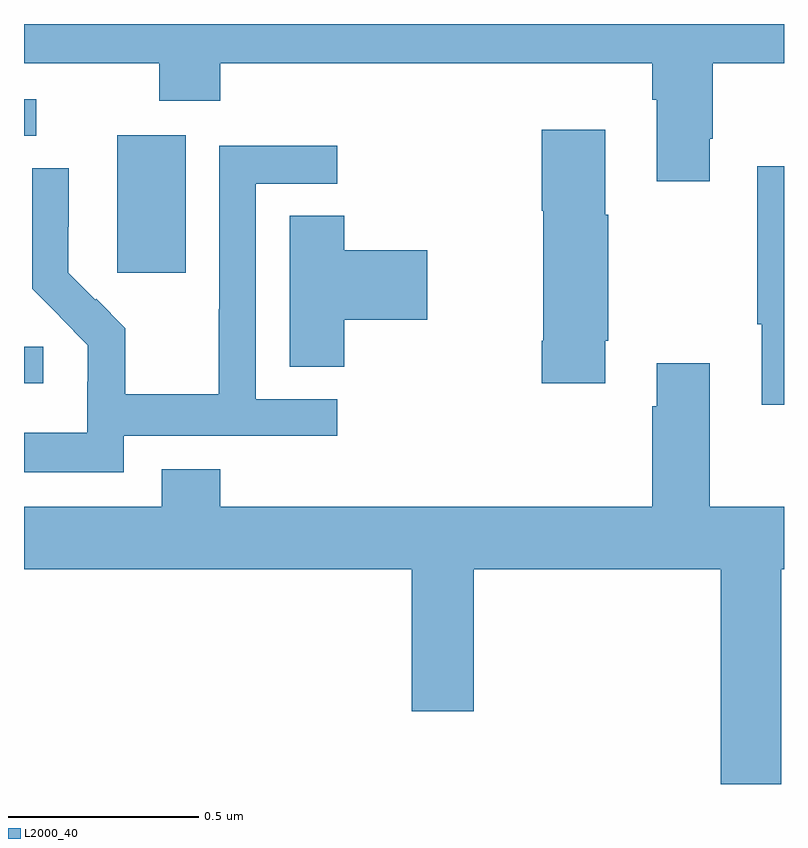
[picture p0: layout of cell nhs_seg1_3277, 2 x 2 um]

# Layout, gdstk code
import gdstk
lib = gdstk.Library(unit=1e-6, precision=1e-09)
def R(c, l, rs):  # rectangles x0, y0, x1, y1
    for r in rs: c.add(gdstk.rectangle(r[:2], r[2:], *l))
def P(c, l, *ps):  # polygons
    for p in ps: c.add(gdstk.Polygon(p, *l))
L2000_40 = (2000, 40)

nhs_seg1_3277 = lib.new_cell('nhs_seg1_3277')
R(nhs_seg1_3277, L2000_40, [(152,520.253,152.05,520.35), (152.246,520.545,152.425,520.906), (152,520.905,152.032,521.001)])
P(nhs_seg1_3277, L2000_40, [(152,521.096),(152.356,521.096),(152.356,520.997),(152.516,520.997),(152.516,521.096),(153.653,521.096),(153.653,521),(153.665,521),(153.665,520.785),(153.805,520.785),(153.805,520.897),(153.813,520.897),(153.813,521.096),(154,521.096),(154,521.199),(152,521.199)],
  [(153.529,520.366),(153.537,520.366),(153.537,520.697),(153.529,520.697),(153.529,520.921),(153.362,520.921),(153.362,520.708),(153.367,520.708),(153.367,520.366),(153.362,520.366),(153.362,520.254),(153.529,520.254)],
  [(152.262,520.116),(152.824,520.116),(152.824,520.212),(152.61,520.212),(152.61,520.779),(152.824,520.779),(152.824,520.878),(152.514,520.878),(152.514,520.448),(152.512,520.448),(152.512,520.225),(152.267,520.225),(152.267,520.399),(152.19,520.476),(152.187,520.473),(152.117,520.544),(152.117,520.666),(152.118,520.666),(152.118,520.82),(152.022,520.82),(152.022,520.502),(152.095,520.429),(152.094,520.428),(152.168,520.354),(152.168,520.257),(152.166,520.257),(152.166,520.123),(152,520.123),(152,520.019),(152.262,520.019)],
  [(154,520.825),(153.93,520.825),(153.93,520.409),(153.941,520.409),(153.941,520.197),(154,520.197)],
  [(152.843,520.421),(153.061,520.421),(153.061,520.604),(152.843,520.604),(152.843,520.694),(152.699,520.694),(152.699,520.297),(152.843,520.297)],
  [(153.993,519.764),(154,519.764),(154,519.928),(153.805,519.928),(153.805,520.306),(153.665,520.306),(153.665,520.193),(153.653,520.193),(153.653,519.928),(152.516,519.928),(152.516,520.027),(152.363,520.027),(152.363,519.928),(152,519.928),(152,519.764),(153.02,519.764),(153.02,519.39),(153.184,519.39),(153.184,519.764),(153.833,519.764),(153.833,519.199),(153.993,519.199)])

lib.write_gds('nhs_seg1_3277.gds')
